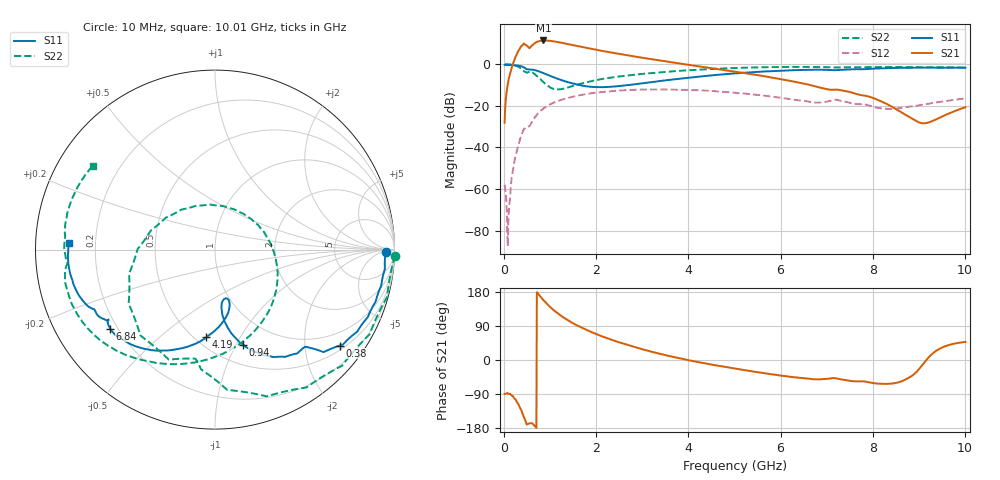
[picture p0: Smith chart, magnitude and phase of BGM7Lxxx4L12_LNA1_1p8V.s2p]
! (c) 2014 Infineon Technologies AG
! BGM7Lxxx4L12 - Silicon Germanium Quad-Band LTE LNA bank
! 20 May 2014
! Special Application Board
! C1 = L1 = 0 Ohm
! C2 = 100 nF
! Vcc = 1.8V
! RF input and output lines de-embedded
! Port 1 reference plane: LNA input AI (pin 8)
! Port 2 reference plane: LNA output AO (pin 7)
! Network Data:
! Measured BGM7Lxxx4L12 device level s-parameters
# GHz S MA R 50
!Freq  MagS11  AngS11  MagS21  AngS21  MagS12  AngS12  MagS22  AngS22
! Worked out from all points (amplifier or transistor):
!   1001 points, 10 MHz to 10.01 GHz, reference 50 ohm
!   highest |S21| = 11.3 dB at 850 MHz (marker M1)
!   |S21| within 3 dB of that: 578.7 MHz to 1.653 GHz (1.074 GHz wide, 96.3 % of centre) (the widest 1 of 2)
!   unconditionally stable (mu >= 1): 12.87 MHz to end of sweep
!   at 1.67 GHz: K = 1.12, MAG = 9.4 dB, |S12| = -14.8 dB
!   at 5.01 GHz: K = 1.27, MAG = 2.0 dB, |S12| = -13.8 dB
!   at 10.01 GHz: K = 4.39, MAG = -11.5 dB, |S12| = -16.5 dB
!   lowest NFmin = 0.61 dB at 800 MHz
!   S11 on the Smith chart (normalised r, x): 10 MHz: 36, -11; 380 MHz: 0.61, -2.82; 940 MHz: 0.70, -1.07; 4.19 GHz: 0.57, -0.73; 6.84 GHz: 0.17, -0.33; 10.01 GHz: 0.10, +0.02
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0.01  0.951 -0.9  0.03913 -89.6  0.00126 -54.2  1.002 -2.0
0.1  0.9465 -9.4  0.4376 -89.2  0.0002732 166.6  0.9768 -22.0
0.22  0.9321 -20.8  1.247 -101.1  0.004512 -177.5  0.9286 -49.3
0.32  0.9079 -31.0  2.161 -119.6  0.01256 178.7  0.8469 -72.8
0.38  0.8759 -37.6  2.722 -135.2  0.02012 168.0  0.7617 -86.7
0.46  0.789 -44.7  2.897 -159.9  0.02919 148.5  0.6427 -98.2
0.57  0.7363 -48.6  2.546 -167.1  0.03503 144.1  0.6441 -118.7
0.65  0.7202 -55.0  3.087 -172.2  0.04905 142.9  0.5806 -141.9
0.75  0.6676 -62.8  3.512 173.0  0.06759 133.9  0.4683 -169.2
0.85  0.6063 -69.3  3.683 158.4  0.08527 124.3  0.3729 163.4
0.94  0.5516 -73.6  3.641 146.7  0.09888 116.1  0.3036 139.0
1.23  0.4156 -81.8  3.26 117.0  0.1368 95.7  0.2483 60.2
1.68  0.3054 -83.0  2.573 85.3  0.1826 74.0  0.3402 -7.7
2.36  0.2862 -75.2  1.855 52.1  0.2252 50.4  0.4784 -56.4
3.35  0.3866 -81.3  1.228 17.3  0.2457 25.5  0.6284 -97.8
4.19  0.4913 -95.6  0.8888 -4.9  0.2366 10.0  0.7271 -121.4
5.01  0.5948 -111.1  0.6548 -22.8  0.2042 -1.7  0.8021 -138.4
6.68  0.7315 -140.0  0.3053 -50.4  0.1207 -3.1  0.8544 -166.5
6.84  0.7319 -143.1  0.2739 -51.1  0.1182 2.3  0.8509 -169.6
8.35  0.8001 -161.4  0.1034 -62.8  0.08335 18.0  0.8478 166.2
9.1  0.8193 -172.5  0.03769 -9.3  0.1065 41.2  0.8397 154.8
10.01  0.8139 177.6  0.09181 47.7  0.1502 47.9  0.8241 145.4
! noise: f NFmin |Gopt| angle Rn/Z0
0.7  0.6135  0.4607  45.36  0.1722
0.75  0.633  0.4374  48.16  0.1527
0.8  0.6087  0.4143  51.86  0.1348
0.85  0.6246  0.4198  53.9  0.1355
0.9  0.63  0.4295  54.29  0.132
0.95  0.6743  0.3986  57.1  0.1314
1  0.6882  0.3974  61.63  0.1318
